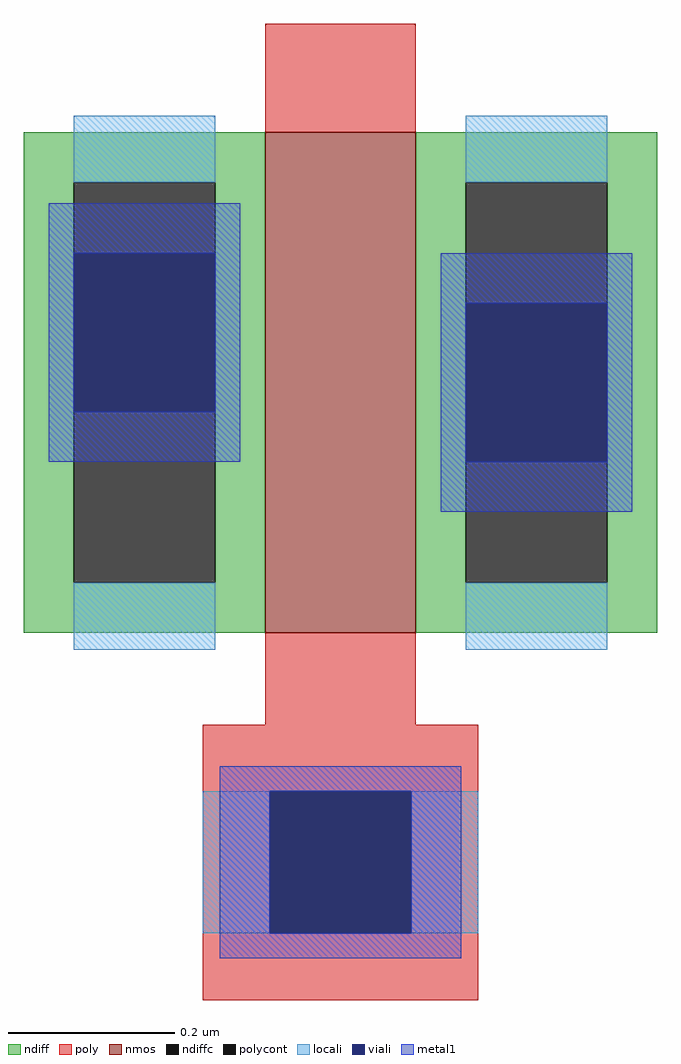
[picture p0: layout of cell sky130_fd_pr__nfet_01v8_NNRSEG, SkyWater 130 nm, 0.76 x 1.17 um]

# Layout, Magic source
magic
tech sky130A
magscale 1 2
<< nmos >>
rect -18 -29 18 91
<< ndiff >>
rect -76 79 -18 91
rect -76 -17 -64 79
rect -30 -17 -18 79
rect -76 -29 -18 -17
rect 18 79 76 91
rect 18 -17 30 79
rect 64 -17 76 79
rect 18 -29 76 -17
<< ndiffc >>
rect -64 -17 -30 79
rect 30 -17 64 79
<< poly >>
rect -18 91 18 117
rect -18 -51 18 -29
rect -33 -67 33 -51
rect -33 -101 -17 -67
rect 17 -101 33 -67
rect -33 -117 33 -101
<< polycont >>
rect -17 -101 17 -67
<< locali >>
rect -64 79 -30 95
rect -64 -33 -30 -17
rect 30 79 64 95
rect 30 -33 64 -17
rect -33 -101 -17 -67
rect 17 -101 33 -67
<< viali >>
rect -64 24 -30 62
rect 30 12 64 50
rect -17 -101 17 -67
<< metal1 >>
rect -70 62 -24 74
rect -70 24 -64 62
rect -30 24 -24 62
rect -70 12 -24 24
rect 24 50 70 62
rect 24 12 30 50
rect 64 12 70 50
rect 24 0 70 12
rect -29 -67 29 -61
rect -29 -101 -17 -67
rect 17 -101 29 -67
rect -29 -107 29 -101
<< properties >>
string gencell sky130_fd_pr__nfet_01v8
string library sky130
string parameters w 0.6 l 0.18 m 1 nf 1 diffcov 100 polycov 100 guard 0 glc 0 grc 0 gtc 0 gbc 0 tbcov 100 rlcov 100 topc 0 botc 1 poverlap 0 doverlap 1 lmin 0.15 wmin 0.42 compatible {sky130_fd_pr__nfet_01v8 sky130_fd_pr__nfet_01v8_lvt  sky130_fd_bs_flash__special_sonosfet_star  sky130_fd_pr__nfet_g5v0d10v5 sky130_fd_pr__nfet_05v0_nvt  sky130_fd_pr__nfet_03v3_nvt} full_metal 0 viasrc 40 viadrn -40 viagate 100 viagb 80 viagr 0 viagl 0 viagt 0
<< end >>
